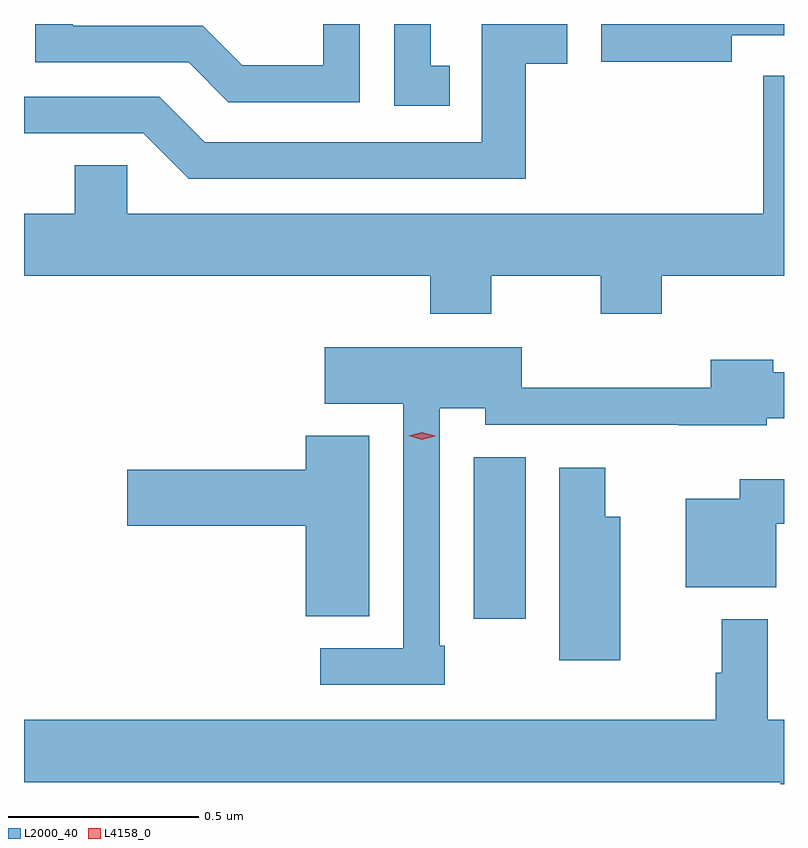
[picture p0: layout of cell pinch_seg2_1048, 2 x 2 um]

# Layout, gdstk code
import gdstk
lib = gdstk.Library(unit=1e-6, precision=1e-09)
def R(c, l, rs):  # rectangles x0, y0, x1, y1
    for r in rs: c.add(gdstk.rectangle(r[:2], r[2:], *l))
def P(c, l, *ps):  # polygons
    for p in ps: c.add(gdstk.Polygon(p, *l))
L2000_40 = (2000, 40)
L4158_0 = (4158, 0)

pinch_seg2_1048 = lib.new_cell('pinch_seg2_1048')
R(pinch_seg2_1048, L2000_40, [(311.435,608.106,311.572,608.531)])
P(pinch_seg2_1048, L2000_40, [(311.573,609.567),(311.682,609.567),(311.682,609.671),(311.457,609.671),(311.457,609.36),(310.728,609.36),(310.608,609.48),(310.252,609.48),(310.252,609.384),(310.566,609.384),(310.686,609.264),(311.573,609.264)],
  [(311.136,609.671),(311.04,609.671),(311.04,609.562),(310.826,609.562),(310.722,609.666),(310.38,609.666),(310.38,609.671),(310.282,609.671),(310.282,609.57),(310.685,609.57),(310.79,609.465),(311.136,609.465)],
  [(312.115,609.641),(312.252,609.641),(312.252,609.671),(311.771,609.671),(311.771,609.572),(312.115,609.572)],
  [(311.372,609.561),(311.323,609.561),(311.323,609.671),(311.226,609.671),(311.226,609.456),(311.372,609.456)],
  [(311.481,609.008),(311.77,609.008),(311.77,608.909),(311.93,608.909),(311.93,609.008),(312.252,609.008),(312.252,609.535),(312.197,609.535),(312.197,609.172),(310.524,609.172),(310.524,609.299),(310.385,609.299),(310.385,609.172),(310.252,609.172),(310.252,609.008),(311.321,609.008),(311.321,608.909),(311.481,608.909)],
  [(311.359,608.035),(311.346,608.035),(311.346,608.66),(311.466,608.66),(311.466,608.616),(311.975,608.616),(311.975,608.615),(312.207,608.615),(312.207,608.633),(312.252,608.633),(312.252,608.755),(312.224,608.755),(312.224,608.788),(312.059,608.788),(312.059,608.714),(311.562,608.714),(311.562,608.821),(311.043,608.821),(311.043,608.672),(311.25,608.672),(311.25,608.028),(311.031,608.028),(311.031,607.932),(311.359,607.932)],
  [(311.161,608.587),(310.994,608.587),(310.994,608.498),(310.524,608.498),(310.524,608.351),(310.994,608.351),(310.994,608.113),(311.161,608.113)],
  [(311.821,608.374),(311.782,608.374),(311.782,608.503),(311.66,608.503),(311.66,607.997),(311.821,607.997)],
  [(312.231,608.356),(312.252,608.356),(312.252,608.473),(312.135,608.473),(312.135,608.422),(311.993,608.422),(311.993,608.189),(312.231,608.189)],
  [(312.252,607.84),(312.209,607.84),(312.209,608.104),(312.088,608.104),(312.088,607.964),(312.073,607.964),(312.073,607.84),(310.252,607.84),(310.252,607.676),(312.243,607.676),(312.243,607.671),(312.252,607.671)])
P(pinch_seg2_1048, L4158_0, [(311.299,608.577),(311.264,608.587),(311.264,608.587),(311.264,608.587),(311.299,608.597),(311.333,608.587),(311.334,608.587),(311.333,608.586)])

lib.write_gds('pinch_seg2_1048.gds')
